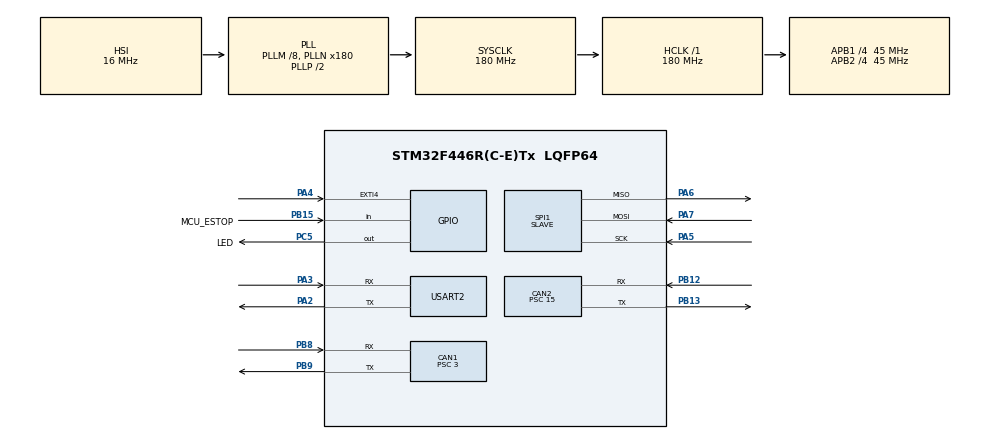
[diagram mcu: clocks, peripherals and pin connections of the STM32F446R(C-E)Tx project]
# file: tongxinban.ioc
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CAN1.BS1=CAN_BS1_10TQ
CAN1.BS2=CAN_BS2_4TQ
CAN1.CalculateBaudRate=1000000
CAN1.CalculateTimeBit=1000
CAN1.CalculateTimeQuantum=66.66666666666666
CAN1.Prescaler=3
CAN2.CalculateBaudRate=1000000
CAN2.CalculateTimeBit=1000
CAN2.CalculateTimeQuantum=333.3333333333333
CAN2.Prescaler=15
Dma.Request0=SPI1_RX
Dma.Request1=SPI1_TX
Dma.Request2=USART2_RX
Dma.Request3=USART2_TX
Dma.SPI1_RX.0.Direction=DMA_PERIPH_TO_MEMORY
Dma.SPI1_RX.0.FIFOMode=DMA_FIFOMODE_ENABLE
Dma.SPI1_RX.0.FIFOThreshold=DMA_FIFO_THRESHOLD_1QUARTERFULL
Dma.SPI1_RX.0.Instance=DMA2_Stream0
Dma.SPI1_RX.0.MemBurst=DMA_MBURST_INC4
Dma.SPI1_RX.0.MemDataAlignment=DMA_MDATAALIGN_BYTE
Dma.SPI1_RX.0.MemInc=DMA_MINC_ENABLE
Dma.SPI1_RX.0.Mode=DMA_CIRCULAR
Dma.SPI1_RX.0.PeriphBurst=DMA_PBURST_SINGLE
Dma.SPI1_RX.0.PeriphDataAlignment=DMA_PDATAALIGN_BYTE
Dma.SPI1_RX.0.PeriphInc=DMA_PINC_DISABLE
Dma.SPI1_RX.0.Priority=DMA_PRIORITY_VERY_HIGH
Dma.SPI1_TX.1.Direction=DMA_MEMORY_TO_PERIPH
Dma.SPI1_TX.1.FIFOMode=DMA_FIFOMODE_ENABLE
Dma.SPI1_TX.1.FIFOThreshold=DMA_FIFO_THRESHOLD_HALFFULL
Dma.SPI1_TX.1.Instance=DMA2_Stream3
Dma.SPI1_TX.1.MemBurst=DMA_MBURST_INC4
Dma.SPI1_TX.1.MemDataAlignment=DMA_MDATAALIGN_BYTE
Dma.SPI1_TX.1.MemInc=DMA_MINC_ENABLE
Dma.SPI1_TX.1.Mode=DMA_NORMAL
Dma.SPI1_TX.1.PeriphBurst=DMA_PBURST_SINGLE
Dma.SPI1_TX.1.PeriphDataAlignment=DMA_PDATAALIGN_BYTE
Dma.SPI1_TX.1.PeriphInc=DMA_PINC_DISABLE
Dma.SPI1_TX.1.Priority=DMA_PRIORITY_VERY_HIGH
Dma.USART2_RX.2.Direction=DMA_PERIPH_TO_MEMORY
Dma.USART2_RX.2.FIFOMode=DMA_FIFOMODE_DISABLE
Dma.USART2_RX.2.Instance=DMA1_Stream5
Dma.USART2_RX.2.MemDataAlignment=DMA_MDATAALIGN_BYTE
Dma.USART2_RX.2.MemInc=DMA_MINC_ENABLE
Dma.USART2_RX.2.Mode=DMA_CIRCULAR
Dma.USART2_RX.2.PeriphDataAlignment=DMA_PDATAALIGN_BYTE
Dma.USART2_RX.2.PeriphInc=DMA_PINC_DISABLE
Dma.USART2_RX.2.Priority=DMA_PRIORITY_MEDIUM
Dma.USART2_TX.3.Direction=DMA_MEMORY_TO_PERIPH
Dma.USART2_TX.3.FIFOMode=DMA_FIFOMODE_DISABLE
Dma.USART2_TX.3.Instance=DMA1_Stream6
Dma.USART2_TX.3.MemDataAlignment=DMA_MDATAALIGN_BYTE
Dma.USART2_TX.3.MemInc=DMA_MINC_ENABLE
Dma.USART2_TX.3.Mode=DMA_NORMAL
Dma.USART2_TX.3.PeriphDataAlignment=DMA_PDATAALIGN_BYTE
Dma.USART2_TX.3.PeriphInc=DMA_PINC_DISABLE
Dma.USART2_TX.3.Priority=DMA_PRIORITY_MEDIUM
FREERTOS.Tasks01=defaultTask,24,160,StartDefaultTask,Default,NULL,Dynamic,NULL,NULL;SPI1Task02,8,160,StartTask02,Default,NULL,Dynamic,NULL,NULL;Can1Task03,8,160,StartTask03,Default,NULL,Dynamic,NULL,NULL;Can2Task04,8,160,StartTask04,Default,NULL,Dynamic,NULL,NULL;Usart2Task05,8,160,StartTask05,Default,NULL,Dynamic,NULL,NULL;DataTask06,8,160,StartTask06,Default,NULL,Dynamic,NULL,NULL;FlowTask07,8,160,StartTask07,Default,NULL,Dynamic,NULL,NULL
Mcu.Family=STM32F4
Mcu.Name=STM32F446R(C-E)Tx
Mcu.Package=LQFP64
NVIC.CAN1_RX0_IRQn=true\:10\:0\:true\:false\:true\:true\:true\:true\:true
NVIC.CAN2_RX0_IRQn=true\:11\:0\:true\:false\:true\:true\:true\:true\:true
NVIC.DMA1_Stream5_IRQn=true\:5\:0\:false\:false\:true\:true\:false\:true\:true
NVIC.DMA1_Stream6_IRQn=true\:5\:0\:false\:false\:true\:true\:false\:true\:true
NVIC.DMA2_Stream0_IRQn=true\:8\:0\:true\:false\:true\:true\:false\:true\:true
NVIC.DMA2_Stream3_IRQn=true\:7\:0\:true\:false\:true\:true\:false\:true\:true
NVIC.EXTI4_IRQn=true\:9\:0\:true\:false\:true\:true\:true\:true\:true
NVIC.PriorityGroup=NVIC_PRIORITYGROUP_4
NVIC.SPI1_IRQn=true\:6\:0\:true\:false\:true\:true\:true\:true\:true
NVIC.TIM1_UP_TIM10_IRQn=true\:15\:0\:false\:false\:true\:false\:false\:true\:true
NVIC.TimeBase=TIM1_UP_TIM10_IRQn
NVIC.TimeBaseIP=TIM1
NVIC.USART2_IRQn=true\:12\:0\:true\:false\:true\:true\:true\:true\:true
PA13.Mode=Serial_Wire
PA13.Signal=SYS_JTMS-SWDIO
PA14.Mode=Serial_Wire
PA14.Signal=SYS_JTCK-SWCLK
PA2.Mode=Asynchronous
PA2.Signal=USART2_TX
PA3.Mode=Asynchronous
PA3.Signal=USART2_RX
PA4.Signal=GPXTI4
PA5.Mode=Full_Duplex_Slave
PA5.Signal=SPI1_SCK
PA6.Mode=Full_Duplex_Slave
PA6.Signal=SPI1_MISO
PA7.Mode=Full_Duplex_Slave
PA7.Signal=SPI1_MOSI
PB12.Mode=CAN_Activate
PB12.Signal=CAN2_RX
PB13.Mode=CAN_Activate
PB13.Signal=CAN2_TX
PB15.GPIO_Label=MCU_ESTOP
PB15.Signal=GPIO_Input
PB8.Mode=CAN_Activate
PB8.Signal=CAN1_RX
PB9.Mode=CAN_Activate
PB9.Signal=CAN1_TX
PC5.GPIO_Label=LED
PC5.GPIO_Speed=GPIO_SPEED_FREQ_MEDIUM
PC5.Signal=GPIO_Output
PH0-OSC_IN.Signal=RCC_OSC_IN
PH1-OSC_OUT.Signal=RCC_OSC_OUT
ProjectManager.HeapSize=0x200
ProjectManager.StackSize=0x400
ProjectManager.TargetToolchain=MDK-ARM V5.32
RCC.AHBFreq_Value=180000000
RCC.APB1CLKDivider=RCC_HCLK_DIV4
RCC.APB1Freq_Value=45000000
RCC.APB1TimFreq_Value=90000000
RCC.APB2CLKDivider=RCC_HCLK_DIV4
RCC.APB2Freq_Value=45000000
RCC.APB2TimFreq_Value=90000000
RCC.CortexFreq_Value=180000000
RCC.HCLKFreq_Value=180000000
RCC.PLLM=8
RCC.PLLN=180
RCC.SYSCLKFreq_VALUE=180000000
RCC.SYSCLKSource=RCC_SYSCLKSOURCE_PLLCLK
RCC.USBFreq_Value=180000000
RCC.VCOOutputFreq_Value=360000000
SPI1.Direction=SPI_DIRECTION_2LINES
SPI1.Mode=SPI_MODE_SLAVE
SPI1.VirtualType=VM_SLAVE
USART2.VirtualMode=VM_ASYNC
VP_FREERTOS_VS_CMSIS_V2.Mode=CMSIS_V2
VP_SYS_VS_tim1.Mode=TIM1
board=custom

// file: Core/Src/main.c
/* USER CODE BEGIN Header */
/**
  ******************************************************************************
  * @file           : main.c
  * @brief          : Main program body
  ******************************************************************************
  * @attention
  *
  * Copyright (c) 2025 STMicroelectronics.
  * All rights reserved.
  *
  * This software is licensed under terms that can be found in the LICENSE file
  * in the root directory of this software component.
  * If no LICENSE file comes with this software, it is provided AS-IS.
  *
  ******************************************************************************
  */
/* USER CODE END Header */
#include "main.h"
#include "cmsis_os.h"
#include "can.h"
#include "dma.h"
#include "spi.h"
#include "usart.h"
#include "gpio.h"
#include "spi_slave.h"
#include "can_data.h"

void SystemClock_Config(void);
void MX_FREERTOS_Init(void);

int main(void)
{

  /* MCU Configuration--------------------------------------------------------*/

  /* Reset of all peripherals, Initializes the Flash interface and the Systick. */
  SCB->VTOR = 0x08008000;
  HAL_Init();

  /* Configure the system clock */
  SystemClock_Config();
  __enable_irq();

  /* Initialize all configured peripherals */
  MX_GPIO_Init();
  MX_DMA_Init();
  MX_CAN1_Init();
  HAL_Delay(10);

  MX_CAN2_Init();
  HAL_Delay(10);
  /* 初始化CAN数据处理模块 */
  CAN_Data_Init();
  MX_SPI1_Init();
  SPI_Slave_Init();// 初始化SPI从机
  MX_USART2_UART_Init();

  /* Init scheduler */
  osKernelInitialize();  /* Call init function for freertos objects (in cmsis_os2.c) */
  MX_FREERTOS_Init();

  /* Start scheduler */
  osKernelStart();

  /* We should never get here as control is now taken by the scheduler */

  /* Infinite loop */
  while (1)
  {

  }
}

void SystemClock_Config(void)
{
  RCC_OscInitTypeDef RCC_OscInitStruct = {0};
  RCC_ClkInitTypeDef RCC_ClkInitStruct = {0};

  /** Configure the main internal regulator output voltage
  */
  __HAL_RCC_PWR_CLK_ENABLE();
  __HAL_PWR_VOLTAGESCALING_CONFIG(PWR_REGULATOR_VOLTAGE_SCALE1);

  /** Initializes the RCC Oscillators according to the specified parameters
  * in the RCC_OscInitTypeDef structure.
  */
  RCC_OscInitStruct.OscillatorType = RCC_OSCILLATORTYPE_HSI;
  RCC_OscInitStruct.HSIState = RCC_HSI_ON;
  RCC_OscInitStruct.HSICalibrationValue = RCC_HSICALIBRATION_DEFAULT;
  RCC_OscInitStruct.PLL.PLLState = RCC_PLL_ON;
  RCC_OscInitStruct.PLL.PLLSource = RCC_PLLSOURCE_HSI;
  RCC_OscInitStruct.PLL.PLLM = 8;
  RCC_OscInitStruct.PLL.PLLN = 180;
  RCC_OscInitStruct.PLL.PLLP = RCC_PLLP_DIV2;
  RCC_OscInitStruct.PLL.PLLQ = 2;
  RCC_OscInitStruct.PLL.PLLR = 2;
  if (HAL_RCC_OscConfig(&RCC_OscInitStruct) != HAL_OK)
  {
    Error_Handler();
  }

  /** Activate the Over-Drive mode
  */
  if (HAL_PWREx_EnableOverDrive() != HAL_OK)
  {
    Error_Handler();
  }

  /** Initializes the CPU, AHB and APB buses clocks
  */
  RCC_ClkInitStruct.ClockType = RCC_CLOCKTYPE_HCLK|RCC_CLOCKTYPE_SYSCLK
                              |RCC_CLOCKTYPE_PCLK1|RCC_CLOCKTYPE_PCLK2;
  RCC_ClkInitStruct.SYSCLKSource = RCC_SYSCLKSOURCE_PLLCLK;
  RCC_ClkInitStruct.AHBCLKDivider = RCC_SYSCLK_DIV1;
  RCC_ClkInitStruct.APB1CLKDivider = RCC_HCLK_DIV4;
  RCC_ClkInitStruct.APB2CLKDivider = RCC_HCLK_DIV4;

  if (HAL_RCC_ClockConfig(&RCC_ClkInitStruct, FLASH_LATENCY_5) != HAL_OK)
  {
    Error_Handler();
  }
}

void HAL_TIM_PeriodElapsedCallback(TIM_HandleTypeDef *htim)
{
  if (htim->Instance == TIM1)
  {
    HAL_IncTick();
  }
}

void Error_Handler(void)
{
  __disable_irq();
  while (1)
  {
  }
}

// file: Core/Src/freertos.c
/* USER CODE BEGIN Header */
/**
  ******************************************************************************
  * File Name          : freertos.c
  * Description        : Code for freertos applications
  ******************************************************************************
  * @attention
  *
  * Copyright (c) 2025 STMicroelectronics.
  * All rights reserved.
  *
  * This software is licensed under terms that can be found in the LICENSE file
  * in the root directory of this software component.
  * If no LICENSE file comes with this software, it is provided AS-IS.
  *
  ******************************************************************************
  */
/* USER CODE END Header */

#include "FreeRTOS.h"
#include "task.h"
#include "main.h"
#include "cmsis_os.h"
#include "spi_slave.h"
#include "can_data.h"
#include "string.h"
#include "usart.h"

/* USER CODE BEGIN PTD */
/* 外部变量声明 */
extern osMessageQueueId_t can1QueueHandle;
extern osMessageQueueId_t can2QueueHandle;
extern CAN_HandleTypeDef hcan1;
extern CAN_HandleTypeDef hcan2;
extern CAN_TxMessage_t   CAN1_TxMessa;
extern CAN_TxMessage_t   CAN2_TxMessa;
extern UART_HandleTypeDef huart2; // 引用 usart.c 里的句柄
CAN_Message_t can2_msg;
uint32_t TaskThreadHeartbeat[8] = {0};
uint8_t RxBuffer_OTA[300];  // 定义足够大的缓冲区，覆盖 265 字节的最大包长

// 定义一个 128 字节的接收缓冲区
uint8_t RxBuffer_USART2[128];
/* USER CODE END PTD */

/* USER CODE BEGIN Variables */
extern  uint16_t SPI1_CsEnabled;   //SPI1的使能开关，1为接受到新数据，0为未读到新数据
/* USER CODE END Variables */
/* Definitions for defaultTask */
osThreadId_t defaultTaskHandle;
const osThreadAttr_t defaultTask_attributes = {
  .name = "defaultTask",
  .stack_size = 160 * 4,
  .priority = (osPriority_t) osPriorityNormal,
};
/* Definitions for SPI1Task02 */
osThreadId_t SPI1Task02Handle;
const osThreadAttr_t SPI1Task02_attributes = {
  .name = "SPI1Task02",
  .stack_size = 160 * 4,
  .priority = (osPriority_t) osPriorityLow,
};
/* Definitions for Can1Task03 */
osThreadId_t Can1Task03Handle;
const osThreadAttr_t Can1Task03_attributes = {
  .name = "Can1Task03",
  .stack_size = 160 * 4,
  .priority = (osPriority_t) osPriorityLow,
};
/* Definitions for Can2Task04 */
osThreadId_t Can2Task04Handle;
const osThreadAttr_t Can2Task04_attributes = {
  .name = "Can2Task04",
  .stack_size = 160 * 4,
  .priority = (osPriority_t) osPriorityLow,
};
/* Definitions for Usart2Task05 */
osThreadId_t Usart2Task05Handle;
const osThreadAttr_t Usart2Task05_attributes = {
  .name = "Usart2Task05",
  .stack_size = 160 * 4,
  .priority = (osPriority_t) osPriorityLow,
};
/* Definitions for DataTask06 */
osThreadId_t DataTask06Handle;
const osThreadAttr_t DataTask06_attributes = {
  .name = "DataTask06",
  .stack_size = 160 * 4,
  .priority = (osPriority_t) osPriorityLow,
};
/* Definitions for FlowTask07 */
osThreadId_t FlowTask07Handle;
const osThreadAttr_t FlowTask07_attributes = {
  .name = "FlowTask07",
  .stack_size = 160 * 4,
  .priority = (osPriority_t) osPriorityLow,
};

void StartDefaultTask(void *argument);
void StartTask02(void *argument);
void StartTask03(void *argument);
void StartTask04(void *argument);
void StartTask05(void *argument);
void StartTask06(void *argument);
void StartTask07(void *argument);

void MX_FREERTOS_Init(void); /* (MISRA C 2004 rule 8.1) */
void Check_OTA_Request(void);

void MX_FREERTOS_Init(void) {

  /* Create the thread(s) */
  /* creation of defaultTask */
  defaultTaskHandle = osThreadNew(StartDefaultTask, NULL, &defaultTask_attributes);

  /* creation of SPI1Task02 */
  SPI1Task02Handle = osThreadNew(StartTask02, NULL, &SPI1Task02_attributes);

  /* creation of Can1Task03 */
  Can1Task03Handle = osThreadNew(StartTask03, NULL, &Can1Task03_attributes);

  /* creation of Can2Task04 */
  Can2Task04Handle = osThreadNew(StartTask04, NULL, &Can2Task04_attributes);

  /* creation of Usart2Task05 */
  Usart2Task05Handle = osThreadNew(StartTask05, NULL, &Usart2Task05_attributes);

  /* creation of DataTask06 */
  DataTask06Handle = osThreadNew(StartTask06, NULL, &DataTask06_attributes);

  /* creation of FlowTask07 */
  FlowTask07Handle = osThreadNew(StartTask07, NULL, &FlowTask07_attributes);

}

void StartDefaultTask(void *argument)
{
  /* USER CODE BEGIN StartDefaultTask */
  /* Infinite loop */
  for(;;)
  {
	  //HAL_GPIO_WritePin(LED_GPIO_Port, LED_Pin, GPIO_PIN_SET);
	  //HAL_GPIO_WritePin(LED_GPIO_Port, LED_Pin, GPIO_PIN_RESET);
      osDelay(1);
	  TaskThreadHeartbeat[0] ++;
  }
  /* USER CODE END StartDefaultTask */
}

void StartTask02(void *argument)
{
  /* USER CODE BEGIN StartTask02 */
  /* Infinite loop */
  for(;;)
  {
	  if(SPI1_CsEnabled == 1)                       //SPI1使能信号为1，则进入数据跟新程序
	  {
		  SPI1_CsEnabled = 0;                       //SPI1使能信号清零，则进入数据跟新程序
		  CAN_GeneratedData();                      //生成数据（测试）
          build_spi_response();                     //构建 SPI 返回帧 (电机反馈数据)
	  }
    //osDelay(1);
	  TaskThreadHeartbeat[1] ++;
  }
  /* USER CODE END StartTask02 */
}

void StartTask03(void *argument)
{
  /* USER CODE BEGIN StartTask03 */
	CAN_Message_t msg;
	CAN_Message_t can2_msg;
    uint32_t last_print_tick = 0;
  /* Infinite loop */
  for(;;)
  {
	  // 处理CAN1数据
	CANSend_DataConversion();
    CANcontrol();   //CAN发送协议生成及CAN发送
    //AND_CanSendServe(hcan1,CAN1_TxMessa);
	  // 从队列读取CAN1数据
	if(osMessageQueueGet(can1QueueHandle, &msg, NULL, 0) == osOK)
	{

    }
    osDelay(100);
	TaskThreadHeartbeat[2] ++;
  }
  /* USER CODE END StartTask03 */
}

void StartTask04(void *argument)
{
  /* USER CODE BEGIN StartTask04 */
  /* Infinite loop */

  // DMA测试代码
  // HAL_UART_Receive_DMA(&huart2, RxBuffer_USART2, 128);
  for(;;)
  {
    osDelay(1);
    /* DMA测试代码
    if(HAL_UART_GetState(&huart2) == HAL_UART_STATE_READY ||
         HAL_UART_GetState(&huart2) == HAL_UART_STATE_BUSY_RX)
      {
          // 参数：串口句柄，数据源指针，发送长度
          HAL_UART_Transmit_DMA(&huart2, RxBuffer_USART2, 128);
      }*/
	TaskThreadHeartbeat[3] ++;
  }

  /* USER CODE END StartTask04 */
}

/* 合并后的任务代码 */
void StartTask05(void *argument)
{
  /* USER CODE BEGIN StartTask05 */

  // 1. 启动接收 (开启 IDLE 中断 + DMA)
  __HAL_UART_ENABLE_IT(&huart2, UART_IT_IDLE);
  HAL_UART_Receive_DMA(&huart2, RxBuffer_OTA, 300);

  for(;;)
  {
    // 2. 等待通知，但最多等 1000ms (1秒)
    // pdMS_TO_TICKS(1000) 会自动根据你的 RTOS 时钟频率计算 Tick 数
    uint32_t ulNotificationValue = ulTaskNotifyTake(pdTRUE, pdMS_TO_TICKS(1000));

    if (ulNotificationValue > 0)
    {
        // === 情况 A：收到串口数据 (IDLE 中断触发) ===
        Check_OTA_Request();
        // 清空缓冲区 (防止脏数据干扰)
        memset(RxBuffer_OTA, 0, 300);
        // 重新开启 DMA 接收下一包
        HAL_UART_Receive_DMA(&huart2, RxBuffer_OTA, 300);
    }
    else
    {
        // === 情况 B：超时 (1秒内无数据接收),发送心跳包 ===
        char *msg = "APP_V1.0_Running\r\n";
        HAL_UART_Transmit(&huart2, (uint8_t*)msg, strlen(msg), 100);
    }

    // 任务计数器自增 (保留原有逻辑)
    TaskThreadHeartbeat[4]++;
  }
  /* USER CODE END StartTask05 */
}

void StartTask06(void *argument)
{
  /* USER CODE BEGIN StartTask06 */
  /* Infinite loop */
  for(;;)
  {
    osDelay(1);
	TaskThreadHeartbeat[5] ++;
  }
  /* USER CODE END StartTask06 */
}

void StartTask07(void *argument)
{
  /* USER CODE BEGIN StartTask07 */
  /* Infinite loop */
  for(;;)
  {
    osDelay(1);
	TaskThreadHeartbeat[6] ++;
  }
  /* USER CODE END StartTask07 */
}

void Check_OTA_Request(void)
{
    // 简单检查帧头 [AA 55] 和命令 [10]
    // Python 脚本里发送的是: [AA 55 LEN 0x10 ...]
    if (RxBuffer_OTA[0] == 0xAA && RxBuffer_OTA[1] == 0x55 && RxBuffer_OTA[3] == 0x10)
    {
        // 1. 发送 ACK (告诉 Python: 我收到跳转指令了)
        // 构造 ACK: AA 55 02 10 00
        uint8_t ack[] = {0xAA, 0x55, 0x02, 0x10, 0x00};
        HAL_UART_Transmit(&huart2, ack, 5, 100);

        // 2. 写入 OTA 标志位 (BOOT_FLAG_ADDR = 0x2001FFF0)
        *(__IO uint32_t *)0x2001FFF0 = 0xDEADBEEF;

        // 3. 延时确保串口发送完毕
        osDelay(100);

        // 4. 关闭中断并重启,防抖和保证操作的原子性
        __disable_irq();
        NVIC_SystemReset();
    }
}
